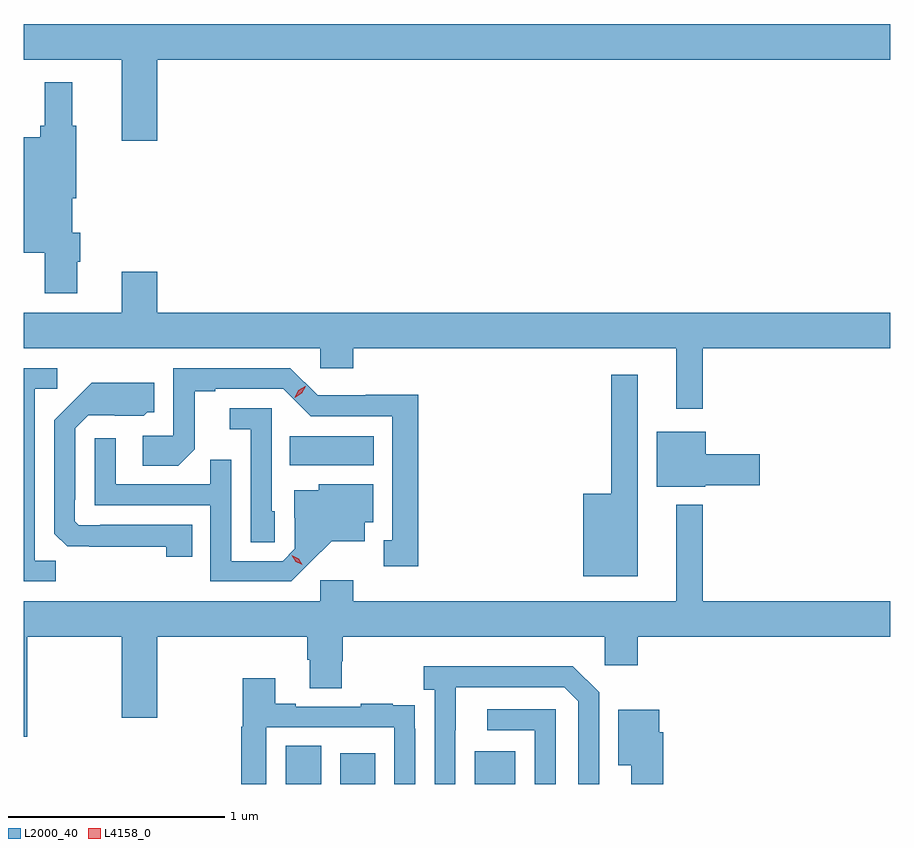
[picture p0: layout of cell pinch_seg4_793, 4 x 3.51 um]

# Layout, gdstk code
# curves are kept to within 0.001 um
import gdstk
lib = gdstk.Library(unit=1e-6, precision=1e-09)
def R(c, l, rs):  # rectangles x0, y0, x1, y1
    for r in rs: c.add(gdstk.rectangle(r[:2], r[2:], *l))
def P(c, l, *ps):  # polygons
    for p in ps: c.add(gdstk.Polygon(p, *l))
L2000_40 = (2000, 40)
L4158_0 = (4158, 0)

pinch_seg4_793 = lib.new_cell('pinch_seg4_793')
R(pinch_seg4_793, L2000_40, [(801.128,828.108,801.292,828.284), (801.38,828.108,801.541,828.25), (802.001,828.108,802.189,828.259), (801.148,829.58,801.535,829.714)])
P(pinch_seg4_793, L2000_40, [(800.536,831.452),(803.919,831.452),(803.919,831.616),(799.919,831.616),(799.919,831.452),(800.372,831.452),(800.372,831.078),(800.536,831.078)],
  [(800.167,830.519),(800.18,830.519),(800.18,830.652),(800.143,830.652),(800.143,830.811),(800.161,830.811),(800.161,831.147),(800.143,831.147),(800.143,831.346),(800.015,831.346),(800.015,831.147),(799.996,831.147),(799.996,831.094),(799.919,831.094),(799.919,830.559),(800.015,830.559),(800.015,830.373),(800.167,830.373)],
  [(803.053,830.12),(803.919,830.12),(803.919,830.284),(800.536,830.284),(800.536,830.473),(800.372,830.473),(800.372,830.284),(799.919,830.284),(799.919,830.12),(801.288,830.12),(801.288,830.027),(801.44,830.027),(801.44,830.12),(802.931,830.12),(802.931,829.839),(803.053,829.839)],
  [(801.739,829.904),(801.498,829.904),(801.498,829.902),(801.276,829.902),(801.15,830.028),(800.61,830.028),(800.61,829.716),(800.469,829.716),(800.469,829.576),(800.633,829.576),(800.709,829.652),(800.709,829.92),(800.803,829.92),(800.803,829.932),(801.117,829.932),(801.243,829.806),(801.62,829.806),(801.62,829.233),(801.581,829.233),(801.581,829.113),(801.739,829.113)],
  [(800.067,829.139),(799.971,829.139),(799.971,829.932),(800.074,829.932),(800.074,830.028),(799.919,830.028),(799.919,829.044),(800.067,829.044)],
  [(802.753,829.996),(802.632,829.996),(802.632,829.447),(802.502,829.447),(802.502,829.067),(802.753,829.067)],
  [(800.696,829.305),(800.272,829.305),(800.272,829.302),(800.172,829.302),(800.154,829.32),(800.154,829.42),(800.157,829.42),(800.157,829.749),(800.217,829.809),(800.474,829.808),(800.49,829.824),(800.521,829.824),(800.521,829.96),(800.233,829.96),(800.061,829.786),(800.061,829.264),(800.12,829.205),(800.578,829.204),(800.578,829.158),(800.696,829.158)],
  [(801.078,829.368),(801.063,829.368),(801.063,829.842),(800.871,829.842),(800.871,829.745),(800.967,829.745),(800.967,829.225),(801.078,829.225)],
  [(803.064,829.487),(803.317,829.487),(803.317,829.629),(803.068,829.629),(803.068,829.735),(802.841,829.735),(802.841,829.481),(803.064,829.481)],
  [(801.238,829.127),(801.341,829.229),(801.493,829.229),(801.493,829.316),(801.532,829.316),(801.532,829.492),(801.282,829.492),(801.282,829.465),(801.167,829.465),(801.167,829.336),(801.171,829.336),(801.171,829.194),(801.114,829.137),(800.877,829.137),(800.877,829.604),(800.779,829.604),(800.779,829.491),(800.343,829.491),(800.343,829.705),(800.247,829.705),(800.247,829.395),(800.781,829.395),(800.781,829.044),(801.154,829.044)],
  [(799.935,828.788),(800.372,828.788),(800.372,828.414),(800.536,828.414),(800.536,828.788),(801.227,828.788),(801.227,828.682),(801.239,828.682),(801.239,828.55),(801.387,828.55),(801.387,828.675),(801.392,828.675),(801.392,828.788),(802.602,828.788),(802.602,828.657),(802.754,828.657),(802.754,828.788),(803.919,828.788),(803.919,828.952),(803.053,828.952),(803.053,829.396),(802.931,829.396),(802.931,828.952),(801.44,828.952),(801.44,829.048),(801.288,829.048),(801.288,828.952),(799.919,828.952),(799.919,828.327),(799.935,828.327)],
  [(801.912,828.355),(801.913,828.555),(802.413,828.555),(802.479,828.489),(802.479,828.108),(802.575,828.108),(802.575,828.531),(802.454,828.652),(801.765,828.652),(801.765,828.542),(801.816,828.542),(801.816,828.108),(801.912,828.108)],
  [(801.039,828.369),(801.63,828.369),(801.63,828.108),(801.726,828.108),(801.726,828.362),(801.725,828.362),(801.725,828.471),(801.623,828.471),(801.623,828.478),(801.475,828.478),(801.475,828.465),(801.175,828.465),(801.175,828.478),(801.079,828.478),(801.079,828.595),(800.931,828.595),(800.931,828.372),(800.923,828.372),(800.923,828.108),(801.039,828.108)],
  [(802.374,828.453),(802.059,828.453),(802.059,828.357),(802.278,828.357),(802.278,828.108),(802.374,828.108)],
  [(802.871,828.347),(802.852,828.347),(802.852,828.451),(802.664,828.451),(802.664,828.194),(802.724,828.194),(802.724,828.108),(802.871,828.108)])
P(pinch_seg4_793, L4158_0, [(801.205,829.119),(801.174,829.133),(801.157,829.163),(801.157,829.163),(801.157,829.163),(801.188,829.148),(801.205,829.119),(801.205,829.119)],
  [(801.17,829.892),(801.17,829.893),(801.187,829.925),(801.219,829.944),(801.22,829.944),(801.22,829.944),(801.202,829.911),(801.17,829.892)])

lib.write_gds('pinch_seg4_793.gds')
